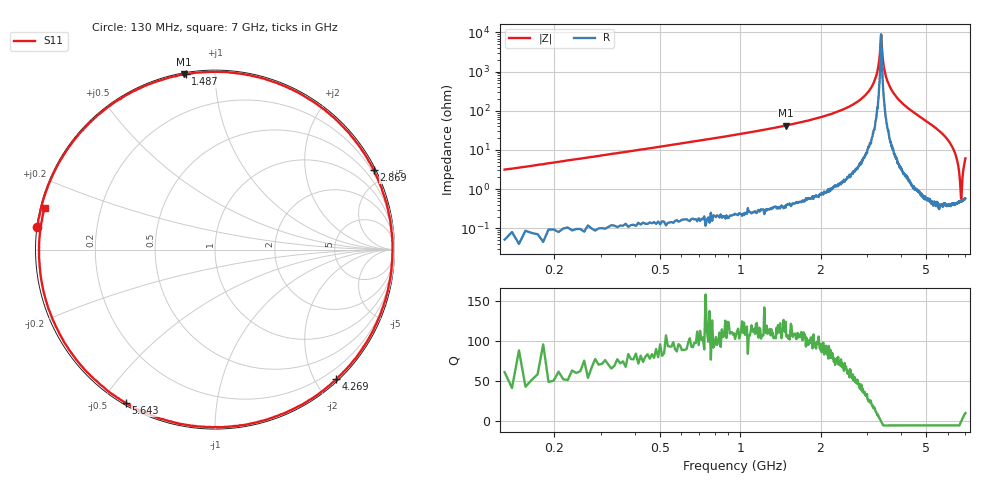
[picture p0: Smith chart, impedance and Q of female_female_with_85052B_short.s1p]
!Created with skrf (http://scikit-rf.org).
# Hz S RI R 50.0
!freq ReS11 ImS11
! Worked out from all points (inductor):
!   801 points, 130 MHz to 7 GHz, reference 50 ohm
!   read as one part to ground: L = 3.8 nH near 164.3 MHz
!   highest Q = 115 at 1.478 GHz (marker M1), where L = 4.51 nH
!   self-resonance near 3.376 GHz
!   S11 on the Smith chart (normalised r, x): 130 MHz: 0.00, +0.06; 1.487 GHz: 0.01, +0.85; 2.869 GHz: 0.11, +4.24; 4.269 GHz: 0.03, -2.31; 5.643 GHz: 0.01, -0.58; 7 GHz: 0.01, +0.12
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1.3e8  -0.99 0.1256
3.275125e8  -0.9466 0.3077
5.507875e8  -0.8609 0.4981
9.8875e8  -0.5871 0.7999
1.254962e9  -0.3709 0.9203
1.478238e9  -0.173 0.9769
1.486825e9  -0.1635 0.9772
1.8475e9  0.1658 0.9762
2.242525e9  0.5021 0.8515
2.4658e9  0.6656 0.7327
2.70625e9  0.8091 0.5689
2.869412e9  0.884 0.4415
3.212912e9  0.9776 0.1474
3.565e9  0.9746 -0.1699
3.917088e9  0.8707 -0.4692
4.269175e9  0.6766 -0.7215
4.42375e9  0.5683 -0.8102
4.638438e9  0.3966 -0.9067
4.861712e9  0.2022 -0.9685
5.067812e9  0.0125 -0.9893
5.2825e9  -0.1842 -0.9729
5.643175e9  -0.4968 -0.8548
5.909388e9  -0.694 -0.7017
6.14125e9  -0.8283 -0.5333
6.364525e9  -0.9194 -0.348
6.570625e9  -0.9677 -0.1641
6.785312e9  -0.9794 0.0374
7e9  -0.9492 0.233
